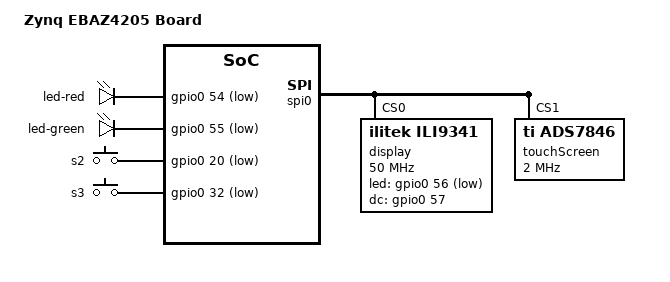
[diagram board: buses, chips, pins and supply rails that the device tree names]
/include/ "system-conf.dtsi"
/ {
    model = "Zynq EBAZ4205 Board";

    aliases {
        ethernet0 = &gem0;
        serial0 = &uart1;
        mmc0 = &sdhci0;
        nand0 = &nand0;
    };

    gpio-leds {
        compatible = "gpio-leds";

	led-red {
            label = "led-red";
            gpios = <&gpio0 54 1>;
            default-state = "off";
        };

        led-green {
            label = "led-green";
            gpios = <&gpio0 55 1>;
            default-state = "off";
        };
    };

    gpio-keys {
        compatible = "gpio-keys";
        autorepeat;

        s2 {
            label = "s2";
            gpios = <&gpio0 20 1>;
            linux,code = <102>;
            wakeup-source;
        };

        s3 {
            label = "s3";
            gpios = <&gpio0 32 1>;
            linux,code = <116>;
            wakeup-source;
        };
    };
};
&spi0 {
	status = "okay";
	num-cs = <1>;
	display@0{
		compatible = "ilitek,ili9341";
		reg = <0>;
		rotate = <270>;
		spi-max-frequency = <50000000>;
                buswidth = <8>;
		bgr;
		fps = <30>;
		led-gpios = <&gpio0 56 1>;
		dc-gpios = <&gpio0 57 0>;
	//	reset-gpios = <&gpio0 57 1>;
	};
	touchScreen@1 {
		compatible = "ti,ads7846";
		reg = <1>;

		spi-max-frequency = <2000000>;
		// interrupts = <17 2>; /* high-to-low edge triggered */
		// interrupt-parent = <&gpio>;
		// pendown-gpio = <&pio 0 1 0>;
		// ti,x-plate-ohms = /bits/ 16 <60>;
		// ti,pressure-max = /bits/ 16 <255>;
	};
};

